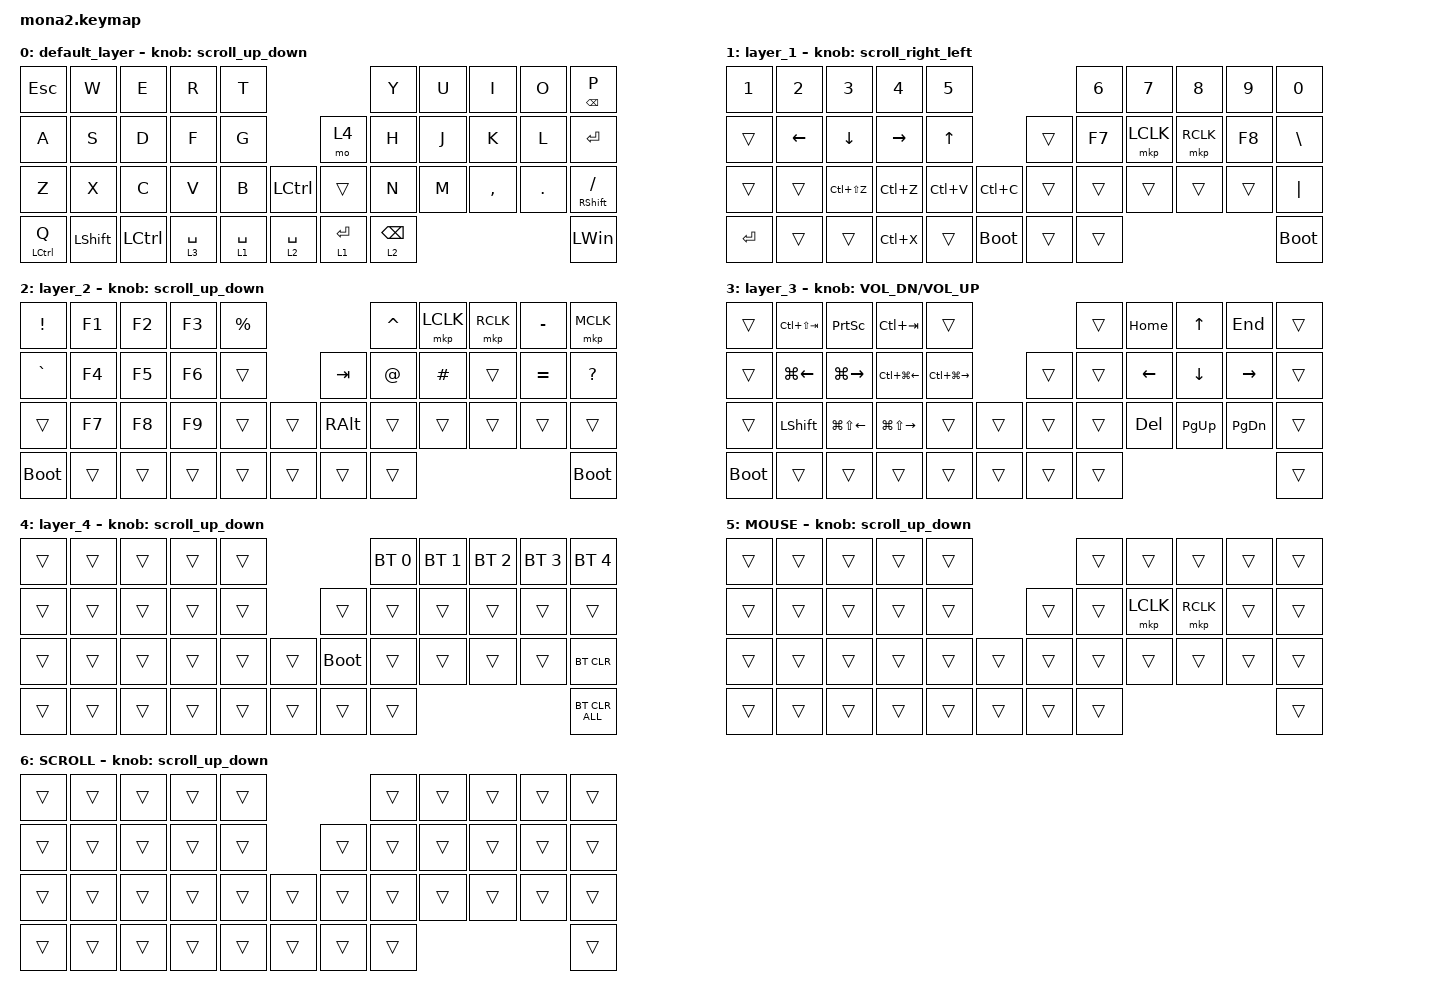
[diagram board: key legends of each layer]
#include <input/processors.dtsi>
#include <dt-bindings/zmk/input_transform.h>
#include <zephyr/dt-bindings/input/input-event-codes.h>
#include <behaviors.dtsi>
#include <dt-bindings/zmk/bt.h>
#include <dt-bindings/zmk/keys.h>
#include <dt-bindings/zmk/pointing.h>

#define ZMK_POINTING_DEFAULT_SCRL_VAL 100
#define MOUSE 5
#define SCROLL 6

&mt {
    flavor = "balanced";
    quick-tap-ms = <0>;
};

&lt {
    quick-tap-ms = <300>;
    flavor = "balanced";
};

/ {
    combos {
        compatible = "zmk,combos";

        layer4_ESC {
            bindings = <&lt 4 ESC>;
            key-positions = <39 38>;
        };

        tab {
            bindings = <&kp TAB>;
            key-positions = <11 12>;
        };

        mojihenkan {
            bindings = <&kp LC(SPACE)>;
            key-positions = <10 38>;
        };
    };

    macros {
        to_layer_0: to_layer_0 {
            compatible = "zmk,behavior-macro-one-param";
            #binding-cells = <1>;
            bindings = <&to 0 &macro_param_1to1 &kp MACRO_PLACEHOLDER>;
            label = "TO_LAYER_0";
        };
    };

    behaviors {
        lt_to_layer_0: lt_to_layer_0 {
            compatible = "zmk,behavior-hold-tap";
            label = "LAYER_TAP_TO_0";
            bindings = <&mo>, <&to_layer_0>;

            #binding-cells = <2>;
            tapping-term-ms = <200>;
        };

        scroll_up_down: mouse_wheel_up_down {
            compatible = "zmk,behavior-sensor-rotate";
            #sensor-binding-cells = <0>;
            bindings = <&msc SCRL_DOWN>, <&msc SCRL_UP>;

            tap-ms = <20>;
        };

        scroll_right_left: mouse_wheel_right_left {
            compatible = "zmk,behavior-sensor-rotate";
            #sensor-binding-cells = <0>;
            bindings = <&msc SCRL_LEFT>, <&msc SCRL_RIGHT>;

            tap-ms = <20>;
        };
    };

    keymap {
        compatible = "zmk,keymap";

        default_layer {
            bindings = <
&kp ESCAPE   &kp W           &kp E      &kp R        &kp T                                    &kp Y            &kp U  &kp I      &kp O    &mt BACKSPACE P
&kp A        &kp S           &kp D      &kp F        &kp G                       &mo 4        &kp H            &kp J  &kp K      &kp L    &kp ENTER
&kp Z        &kp X           &kp C      &kp V        &kp B        &kp LCTRL      &trans       &kp N            &kp M  &kp COMMA  &kp DOT  &mt RIGHT_SHIFT SLASH
&mt LCTRL Q  &kp LEFT_SHIFT  &kp LCTRL  &lt 3 SPACE  &lt 1 SPACE  &lt 2 SPACE    &lt 1 ENTER  &lt 2 BACKSPACE                             &kp LEFT_WIN
            >;

            sensor-bindings = <&scroll_up_down>;
        };

        layer_1 {
            bindings = <
&kp NUMBER_1  &kp NUMBER_2    &kp NUMBER_3    &kp NUMBER_4     &kp NUMBER_5                         &kp NUMBER_6  &kp NUMBER_7  &kp NUMBER_8  &kp NUMBER_9  &kp NUMBER_0
&trans        &kp LEFT_ARROW  &kp DOWN_ARROW  &kp RIGHT_ARROW  &kp UP_ARROW                 &trans  &kp F7        &mkp LCLK     &mkp RCLK     &kp F8        &kp BACKSLASH
&trans        &trans          &kp LC(LS(Z))   &kp LC(Z)        &kp LC(V)     &kp LC(C)      &trans  &trans        &trans        &trans        &trans        &kp PIPE
&kp ENTER     &trans          &trans          &kp LC(X)        &trans        &bootloader    &trans  &trans                                                  &bootloader
            >;

            sensor-bindings = <&scroll_right_left>;
        };

        layer_2 {
            bindings = <
&kp EXCLAMATION  &kp F1  &kp F2  &kp F3  &kp PERCENT                           &kp CARET    &mkp LCLK  &mkp RCLK  &kp MINUS  &mkp MCLK
&kp GRAVE        &kp F4  &kp F5  &kp F6  &trans                 &kp TAB        &kp AT_SIGN  &kp HASH   &trans     &kp EQUAL  &kp QUESTION
&trans           &kp F7  &kp F8  &kp F9  &trans       &trans    &kp RIGHT_ALT  &trans       &trans     &trans     &trans     &trans
&bootloader      &trans  &trans  &trans  &trans       &trans    &trans         &trans                                        &bootloader
            >;

            sensor-bindings = <&scroll_up_down>;
        };

        layer_3 {
            bindings = <
&trans       &kp LC(LS(TAB))     &kp PRINTSCREEN         &kp LC(TAB)              &trans                                     &trans  &kp HOME        &kp UP_ARROW    &kp END          &trans
&trans       &kp LG(LEFT_ARROW)  &kp LG(RIGHT_ARROW)     &kp LC(LG(LEFT_ARROW))   &kp LC(LG(RIGHT_ARROW))            &trans  &trans  &kp LEFT_ARROW  &kp DOWN_ARROW  &kp RIGHT_ARROW  &trans
&trans       &kp LEFT_SHIFT      &kp LG(LS(LEFT_ARROW))  &kp LG(LS(RIGHT_ARROW))  &trans                   &trans    &trans  &trans  &kp DELETE      &kp PAGE_UP     &kp PAGE_DOWN    &trans
&bootloader  &trans              &trans                  &trans                   &trans                   &trans    &trans  &trans                                                   &trans
            >;

            sensor-bindings = <&inc_dec_kp C_VOL_DN C_VOL_UP>;
        };

        layer_4 {
            bindings = <
&trans  &trans  &trans  &trans  &trans                         &bt BT_SEL 0  &bt BT_SEL 1  &bt BT_SEL 2  &bt BT_SEL 3  &bt BT_SEL 4
&trans  &trans  &trans  &trans  &trans            &trans       &trans        &trans        &trans        &trans        &trans
&trans  &trans  &trans  &trans  &trans  &trans    &bootloader  &trans        &trans        &trans        &trans        &bt BT_CLR
&trans  &trans  &trans  &trans  &trans  &trans    &trans       &trans                                                  &bt BT_CLR_ALL
            >;

            sensor-bindings = <&scroll_up_down>;
        };

        MOUSE {
            bindings = <
&trans  &trans  &trans  &trans  &trans                    &trans  &trans     &trans     &trans  &trans
&trans  &trans  &trans  &trans  &trans            &trans  &trans  &mkp LCLK  &mkp RCLK  &trans  &trans
&trans  &trans  &trans  &trans  &trans  &trans    &trans  &trans  &trans     &trans     &trans  &trans
&trans  &trans  &trans  &trans  &trans  &trans    &trans  &trans                                &trans
            >;

            sensor-bindings = <&scroll_up_down>;
        };

        SCROLL {
            bindings = <
&trans  &trans  &trans  &trans  &trans                    &trans  &trans  &trans  &trans  &trans
&trans  &trans  &trans  &trans  &trans            &trans  &trans  &trans  &trans  &trans  &trans
&trans  &trans  &trans  &trans  &trans  &trans    &trans  &trans  &trans  &trans  &trans  &trans
&trans  &trans  &trans  &trans  &trans  &trans    &trans  &trans                          &trans
            >;

            sensor-bindings = <&scroll_up_down>;
        };
    };
};
